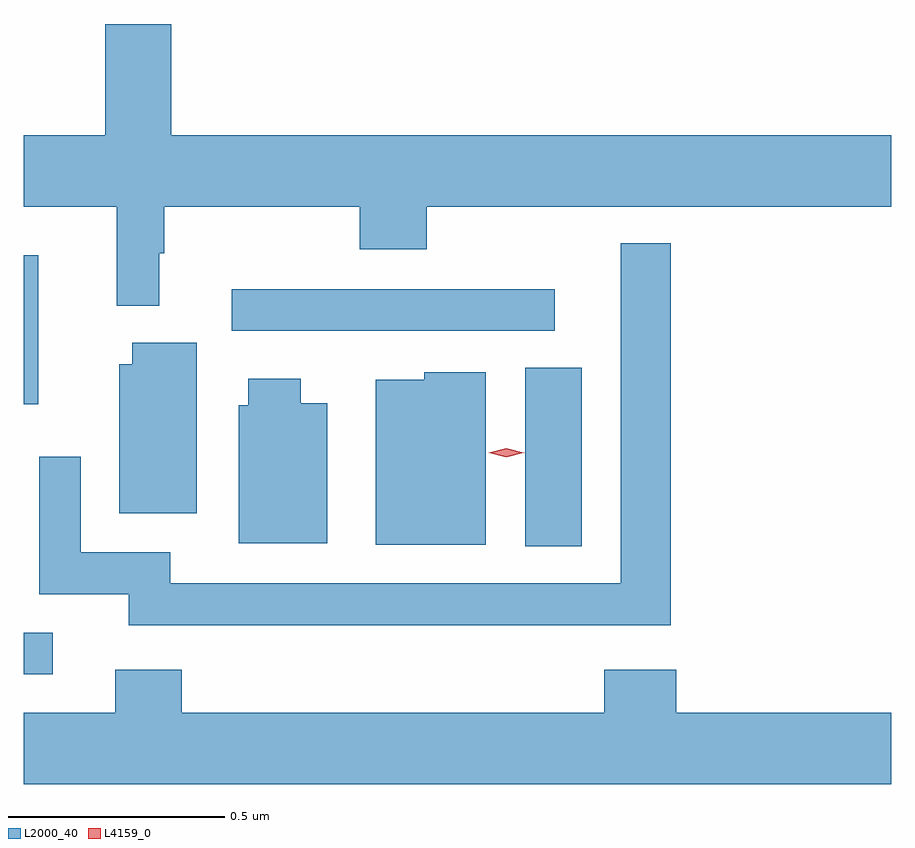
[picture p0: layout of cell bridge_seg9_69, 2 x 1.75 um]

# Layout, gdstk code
import gdstk
lib = gdstk.Library(unit=1e-6, precision=1e-09)
def R(c, l, rs):  # rectangles x0, y0, x1, y1
    for r in rs: c.add(gdstk.rectangle(r[:2], r[2:], *l))
def P(c, l, *ps):  # polygons
    for p in ps: c.add(gdstk.Polygon(p, *l))
L2000_40 = (2000, 40)
L4159_0 = (4159, 0)

bridge_seg9_69 = lib.new_cell('bridge_seg9_69')
R(bridge_seg9_69, L2000_40, [(1043.098,1184.685,1043.164,1184.781), (1044.254,1184.98,1044.385,1185.392), (1043.098,1185.308,1043.131,1185.652), (1043.577,1185.477,1044.322,1185.573)])
P(bridge_seg9_69, L2000_40, [(1043.41,1185.656),(1043.422,1185.656),(1043.422,1185.764),(1043.872,1185.764),(1043.872,1185.665),(1044.027,1185.665),(1044.027,1185.764),(1045.098,1185.764),(1045.098,1185.928),(1043.438,1185.928),(1043.438,1186.185),(1043.285,1186.185),(1043.285,1185.928),(1043.098,1185.928),(1043.098,1185.764),(1043.312,1185.764),(1043.312,1185.535),(1043.41,1185.535)],
  [(1044.59,1185.679),(1044.474,1185.679),(1044.474,1184.895),(1043.436,1184.895),(1043.436,1184.967),(1043.229,1184.967),(1043.229,1185.187),(1043.133,1185.187),(1043.133,1184.87),(1043.34,1184.87),(1043.34,1184.798),(1044.59,1184.798)],
  [(1043.497,1185.45),(1043.348,1185.45),(1043.348,1185.4),(1043.318,1185.4),(1043.318,1185.056),(1043.497,1185.056)],
  [(1044.163,1185.382),(1044.021,1185.382),(1044.021,1185.364),(1043.909,1185.364),(1043.909,1184.984),(1044.163,1184.984)],
  [(1043.797,1185.31),(1043.737,1185.31),(1043.737,1185.367),(1043.615,1185.367),(1043.615,1185.306),(1043.594,1185.306),(1043.594,1184.987),(1043.797,1184.987)],
  [(1045.098,1184.596),(1044.602,1184.596),(1044.602,1184.695),(1044.437,1184.695),(1044.437,1184.596),(1043.462,1184.596),(1043.462,1184.695),(1043.309,1184.695),(1043.309,1184.596),(1043.098,1184.596),(1043.098,1184.432),(1045.098,1184.432)])
P(bridge_seg9_69, L4159_0, [(1044.211,1185.186),(1044.17,1185.196),(1044.17,1185.196),(1044.17,1185.196),(1044.211,1185.206),(1044.251,1185.196),(1044.252,1185.196),(1044.251,1185.196)])

lib.write_gds('bridge_seg9_69.gds')
